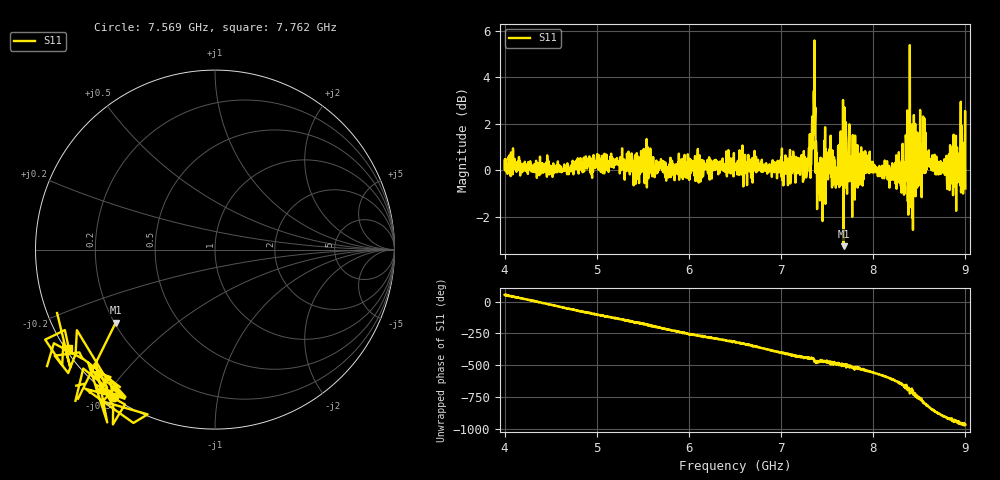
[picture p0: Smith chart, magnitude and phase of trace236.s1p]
! Created with skrf 1.8.0 (http://scikit-rf.org).
# Hz S RI R 50.0
!freq ReS11 ImS11
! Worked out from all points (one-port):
!   1601 points, 4 GHz to 9 GHz, reference 50 ohm
!   lowest |S11| = -3.3 dB at 7.678 GHz (marker M1), VSWR 5.40, Z = 10.2 - j15.8 ohm
!   |S11| at or under -10 dB: nowhere
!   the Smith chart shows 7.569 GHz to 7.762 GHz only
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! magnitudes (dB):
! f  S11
! 4 GHz  0.1
! 4.625 GHz  -0.1
! 5.25 GHz  -0.1
! 5.875 GHz  0.2
! 6.5 GHz  0.2
! 7.125 GHz  0.6
! 7.294 GHz  0.2
! 7.347 GHz  1.8
! 7.378 GHz  1.2
! 7.4 GHz  -0.2
! 7.438 GHz  -0.5
! 7.453 GHz  -0.7
! 7.491 GHz  -0.1
! 7.616 GHz  0.0
! 7.678 GHz  -3.3
! 7.75 GHz  -0.1
! 8.259 GHz  0.2
! 8.316 GHz  -0.1
! 8.375 GHz  -1.3
! 8.397 GHz  5.4
! 8.422 GHz  -2.0
! 8.425 GHz  -0.8
! 8.459 GHz  -1.1
! 8.553 GHz  -0.1
! 8.606 GHz  0.2
! 8.803 GHz  -0.8
! 8.972 GHz  0.8
! 9 GHz  -0.8
